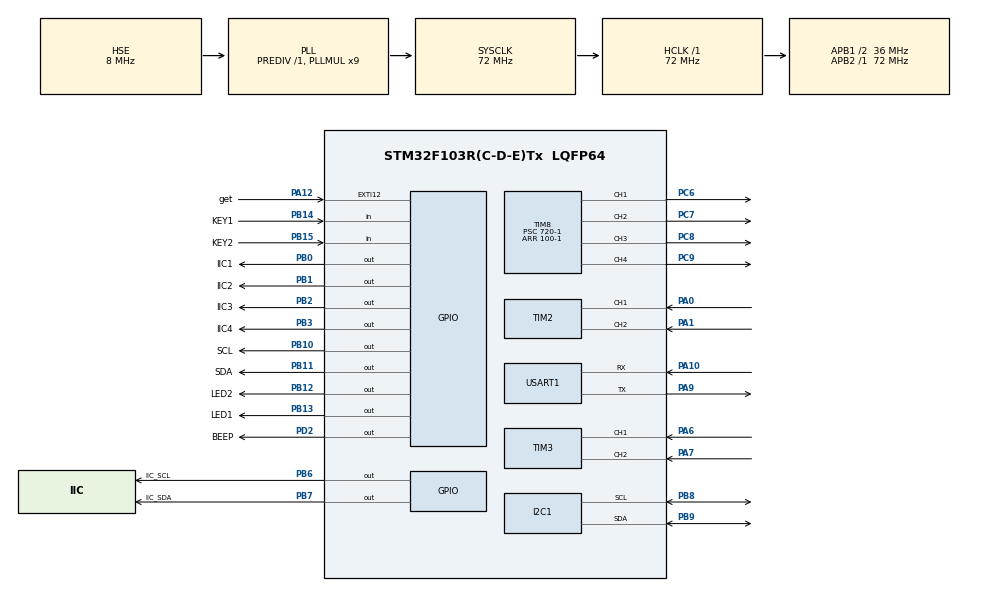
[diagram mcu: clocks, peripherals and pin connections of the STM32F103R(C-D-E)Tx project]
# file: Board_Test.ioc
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Dma.Request0=USART1_RX
Dma.Request1=USART1_TX
Dma.USART1_RX.0.Direction=DMA_PERIPH_TO_MEMORY
Dma.USART1_RX.0.Instance=DMA1_Channel5
Dma.USART1_RX.0.MemDataAlignment=DMA_MDATAALIGN_BYTE
Dma.USART1_RX.0.MemInc=DMA_MINC_ENABLE
Dma.USART1_RX.0.Mode=DMA_NORMAL
Dma.USART1_RX.0.PeriphDataAlignment=DMA_PDATAALIGN_BYTE
Dma.USART1_RX.0.PeriphInc=DMA_PINC_DISABLE
Dma.USART1_RX.0.Priority=DMA_PRIORITY_LOW
Dma.USART1_TX.1.Direction=DMA_MEMORY_TO_PERIPH
Dma.USART1_TX.1.Instance=DMA1_Channel4
Dma.USART1_TX.1.MemDataAlignment=DMA_MDATAALIGN_BYTE
Dma.USART1_TX.1.MemInc=DMA_MINC_ENABLE
Dma.USART1_TX.1.Mode=DMA_NORMAL
Dma.USART1_TX.1.PeriphDataAlignment=DMA_PDATAALIGN_BYTE
Dma.USART1_TX.1.PeriphInc=DMA_PINC_DISABLE
Dma.USART1_TX.1.Priority=DMA_PRIORITY_LOW
Mcu.Family=STM32F1
Mcu.Name=STM32F103R(C-D-E)Tx
Mcu.Package=LQFP64
NVIC.DMA1_Channel4_IRQn=true\:0\:0\:false\:false\:true\:false\:true\:true
NVIC.DMA1_Channel5_IRQn=true\:0\:0\:false\:false\:true\:false\:true\:true
NVIC.PriorityGroup=NVIC_PRIORITYGROUP_4
NVIC.TIM2_IRQn=true\:0\:0\:false\:false\:true\:true\:true\:true
NVIC.TIM3_IRQn=true\:0\:0\:false\:false\:true\:true\:true\:true
NVIC.TIM6_IRQn=true\:0\:0\:false\:false\:true\:true\:true\:true
NVIC.TIM8_BRK_IRQn=true\:0\:0\:false\:false\:true\:true\:true\:true
NVIC.TIM8_CC_IRQn=true\:0\:0\:false\:false\:true\:true\:true\:true
NVIC.TIM8_TRG_COM_IRQn=true\:0\:0\:false\:false\:true\:true\:true\:true
NVIC.TIM8_UP_IRQn=true\:0\:0\:false\:false\:true\:true\:true\:true
NVIC.USART1_IRQn=true\:0\:0\:false\:false\:true\:true\:true\:true
PA0-WKUP.Signal=S_TIM2_CH1_ETR
PA1.Signal=S_TIM2_CH2
PA10.Mode=Asynchronous
PA10.Signal=USART1_RX
PA12.GPIO_Label=get
PA12.Signal=GPXTI12
PA13.Mode=Serial_Wire
PA13.Signal=SYS_JTMS-SWDIO
PA14.Mode=Serial_Wire
PA14.Signal=SYS_JTCK-SWCLK
PA6.Signal=S_TIM3_CH1
PA7.Signal=S_TIM3_CH2
PA9.Mode=Asynchronous
PA9.Signal=USART1_TX
PB0.GPIO_Label=IIC1
PB0.Signal=GPIO_Output
PB1.GPIO_Label=IIC2
PB1.Signal=GPIO_Output
PB10.GPIO_Label=SCL
PB10.Signal=GPIO_Output
PB11.GPIO_Label=SDA
PB11.Signal=GPIO_Output
PB12.GPIO_Label=LED2
PB12.Signal=GPIO_Output
PB13.GPIO_Label=LED1
PB13.Signal=GPIO_Output
PB14.GPIO_Label=KEY1
PB14.Signal=GPIO_Input
PB15.GPIO_Label=KEY2
PB15.Signal=GPIO_Input
PB2.GPIO_Label=IIC3
PB2.Signal=GPIO_Output
PB3.GPIO_Label=IIC4
PB3.Signal=GPIO_Output
PB6.GPIO_Label=IIC_SCL
PB6.Signal=GPIO_Output
PB7.GPIO_Label=IIC_SDA
PB7.Signal=GPIO_Output
PB8.Mode=I2C
PB8.Signal=I2C1_SCL
PB9.Mode=I2C
PB9.Signal=I2C1_SDA
PC14-OSC32_IN.Mode=LSE-External-Oscillator
PC14-OSC32_IN.Signal=RCC_OSC32_IN
PC15-OSC32_OUT.Mode=LSE-External-Oscillator
PC15-OSC32_OUT.Signal=RCC_OSC32_OUT
PC6.Signal=S_TIM8_CH1
PC7.Signal=S_TIM8_CH2
PC8.Signal=S_TIM8_CH3
PC9.Signal=S_TIM8_CH4
PD0-OSC_IN.Mode=HSE-External-Oscillator
PD0-OSC_IN.Signal=RCC_OSC_IN
PD1-OSC_OUT.Mode=HSE-External-Oscillator
PD1-OSC_OUT.Signal=RCC_OSC_OUT
PD2.GPIO_Label=BEEP
PD2.Signal=GPIO_Output
ProjectManager.HeapSize=0x200
ProjectManager.StackSize=0x400
ProjectManager.TargetToolchain=STM32CubeIDE
RCC.AHBFreq_Value=72000000
RCC.APB1CLKDivider=RCC_HCLK_DIV2
RCC.APB1Freq_Value=36000000
RCC.APB1TimFreq_Value=72000000
RCC.APB2Freq_Value=72000000
RCC.APB2TimFreq_Value=72000000
RCC.HCLKFreq_Value=72000000
RCC.PLLMUL=RCC_PLL_MUL9
RCC.PLLSourceVirtual=RCC_PLLSOURCE_HSE
RCC.SYSCLKFreq_VALUE=72000000
RCC.SYSCLKSource=RCC_SYSCLKSOURCE_PLLCLK
RCC.USBFreq_Value=72000000
SH.S_TIM2_CH1_ETR.0=TIM2_CH1,Encoder_Interface
SH.S_TIM2_CH2.0=TIM2_CH2,Encoder_Interface
SH.S_TIM3_CH1.0=TIM3_CH1,Encoder_Interface
SH.S_TIM3_CH2.0=TIM3_CH2,Encoder_Interface
SH.S_TIM8_CH1.0=TIM8_CH1,PWM Generation1 CH1
SH.S_TIM8_CH2.0=TIM8_CH2,PWM Generation2 CH2
SH.S_TIM8_CH3.0=TIM8_CH3,PWM Generation3 CH3
SH.S_TIM8_CH4.0=TIM8_CH4,PWM Generation4 CH4
TIM6.Period=10000-1
TIM6.Prescaler=720-1
TIM8.Channel-PWM\ Generation1\ CH1=TIM_CHANNEL_1
TIM8.Channel-PWM\ Generation2\ CH2=TIM_CHANNEL_2
TIM8.Channel-PWM\ Generation3\ CH3=TIM_CHANNEL_3
TIM8.Channel-PWM\ Generation4\ CH4=TIM_CHANNEL_4
TIM8.Period=100-1
TIM8.Prescaler=720-1
USART1.VirtualMode=VM_ASYNC
VP_TIM6_VS_ClockSourceINT.Mode=Enable_Timer
VP_TIM8_VS_ClockSourceINT.Mode=Internal
board=custom

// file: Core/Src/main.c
/* USER CODE BEGIN Header */
/**
  ******************************************************************************
  * @file           : main.c
  * @brief          : Main program body
  ******************************************************************************
  * @attention
  *
  * Copyright (c) 2023 STMicroelectronics.
  * All rights reserved.
  *
  * This software is licensed under terms that can be found in the LICENSE file
  * in the root directory of this software component.
  * If no LICENSE file comes with this software, it is provided AS-IS.
  *
  ******************************************************************************
  */
/* USER CODE END Header */
#include "main.h"
#include "dma.h"
#include "i2c.h"
#include "tim.h"
#include "usart.h"
#include "gpio.h"

/* USER CODE BEGIN Includes */
#include "Serial.h"
#include "Key.h"
#include "OLED.h"
#include "Motor.h"
#include "mpu6050.h"
#include "inv_mpu.h"
#include "vl53l0x_api.h"
#include "PID.h"
#include "Control.h"
/* USER CODE END Includes */

/* USER CODE BEGIN PTD */
int speedLeft,speedRight;
PID pid;
uint64_t status;
int distanceLeft, distanceRight, distanceFront;
VL53L0X_Dev_t dev1,dev2,dev3;
/* USER CODE END PTD */

/* USER CODE BEGIN PM */

 VL53L0X_Error vl53l0x_init(void);
 uint16_t VL53L0X_GetValue(int ch);
/* USER CODE END PM */

/* USER CODE BEGIN PV */
short gyrox, gyroy, gyroz;//陀螺仪原始数据
float pitch,roll,yaw;
void Updata(void)
{
  mpu_dmp_get_data(&pitch, &roll, &yaw);
//	MPU_Get_Accelerometer(&aacx, &aacy, &aacz);
  MPU_Get_Gyroscope(&gyrox, &gyroy, &gyroz);
//	BalanG = KalmanFilter(&kfp,-gyroy);
  Myprintf("%f,%f,%f\r\n", pitch,roll, yaw);
}
/* USER CODE END PV */

void SystemClock_Config(void);

int main(void)
{
  /* USER CODE BEGIN 1 */
  /* USER CODE BEGIN 1 */
  uint16_t pwmVal=0;   //PWM占空比
  uint8_t dir=1;
  _Motor motor0;
  short cnt=0;
  int temp,temp2,temp3;
  uint32_t count1=0,count2=0;
  /* USER CODE END 1 */

  /* MCU Configuration--------------------------------------------------------*/

  /* Reset of all peripherals, Initializes the Flash interface and the Systick. */
  HAL_Init();

  /* Configure the system clock */
  SystemClock_Config();

  /* Initialize all configured peripherals */
  MX_GPIO_Init();
  MX_DMA_Init();
  MX_I2C1_Init();
  MX_USART1_UART_Init();
  MX_TIM8_Init();
  MX_TIM2_Init();
  MX_TIM3_Init();
  MX_TIM6_Init();
  /* USER CODE BEGIN 2 */
  OLED_Init();
  USART1_Init();
  Motor_Init();
  setup();

  vl53l0x_init();
//  MPU_Init();
//  mpu_dmp_init();		//dmp初始化
  OLED_ShowString(0,0,"Test!",16);
//  Myprintf("Hello!\r\n");
  /* USER CODE END 2 */

  /* Infinite loop */
  /* USER CODE BEGIN WHILE */
  while (1)
  {
//    Updata();
    temp=VL53L0X_GetValue(0);
    temp2=VL53L0X_GetValue(1);
    temp3=VL53L0X_GetValue(2);
    HAL_Delay(50);
    OLED_ShowNum(0,2,temp,6,16);
    OLED_ShowNum(0,4,temp2,6,16);
    OLED_ShowNum(0,6,temp3,6,16);
//    if (GetRxFlag()==1)
//    {
//      sscanf(RxDataStr,"L:%d,R:%d",&temp,&temp2);
//      Control_A(temp);
//      Control_B(temp2);
//      OLED_ShowSignedNum(0,6,temp,4,16);
//      OLED_ShowSignedNum(64,6,temp2,4,16);
//    }
//    Encode_CallBack();
//    GetSpeed(&motor0);
//    OLED_ShowSignedNum(0,2,(int )motor0.M1_ActualSpeed,6,16);
//    OLED_ShowSignedNum(0,4,(int )motor0.M2_ActualSpeed,6,16);
//    HAL_Delay(200);
//    if (motor0.M1_ActualSpeed>=10000)
//    {
//      __HAL_TIM_SET_COUNTER(&Encoder_Timer1, 0);
//      count1++;
//    }
//    if (motor0.M1_ActualSpeed>=10000)
//    {
//      __HAL_TIM_SET_COUNTER(&Encoder_Timer2, 0);
//      count2++;
//    }
//    Myprintf("%f,%f,%d,%d\n",motor0.M1_ActualSpeed,motor0.M2_ActualSpeed,count1,count2);
    /* USER CODE END WHILE */

    /* USER CODE BEGIN 3 */
    update();
  }
  /* USER CODE END 3 */
}

void SystemClock_Config(void)
{
  RCC_OscInitTypeDef RCC_OscInitStruct = {0};
  RCC_ClkInitTypeDef RCC_ClkInitStruct = {0};

  /** Initializes the RCC Oscillators according to the specified parameters
  * in the RCC_OscInitTypeDef structure.
  */
  RCC_OscInitStruct.OscillatorType = RCC_OSCILLATORTYPE_HSE;
  RCC_OscInitStruct.HSEState = RCC_HSE_ON;
  RCC_OscInitStruct.HSEPredivValue = RCC_HSE_PREDIV_DIV1;
  RCC_OscInitStruct.HSIState = RCC_HSI_ON;
  RCC_OscInitStruct.PLL.PLLState = RCC_PLL_ON;
  RCC_OscInitStruct.PLL.PLLSource = RCC_PLLSOURCE_HSE;
  RCC_OscInitStruct.PLL.PLLMUL = RCC_PLL_MUL9;
  if (HAL_RCC_OscConfig(&RCC_OscInitStruct) != HAL_OK)
  {
    Error_Handler();
  }

  /** Initializes the CPU, AHB and APB buses clocks
  */
  RCC_ClkInitStruct.ClockType = RCC_CLOCKTYPE_HCLK|RCC_CLOCKTYPE_SYSCLK
                              |RCC_CLOCKTYPE_PCLK1|RCC_CLOCKTYPE_PCLK2;
  RCC_ClkInitStruct.SYSCLKSource = RCC_SYSCLKSOURCE_PLLCLK;
  RCC_ClkInitStruct.AHBCLKDivider = RCC_SYSCLK_DIV1;
  RCC_ClkInitStruct.APB1CLKDivider = RCC_HCLK_DIV2;
  RCC_ClkInitStruct.APB2CLKDivider = RCC_HCLK_DIV1;

  if (HAL_RCC_ClockConfig(&RCC_ClkInitStruct, FLASH_LATENCY_2) != HAL_OK)
  {
    Error_Handler();
  }
}

/* USER CODE BEGIN 4 */
void HAL_GPIO_EXTI_Callback(uint16_t GPIO_Pin)
{
//		Updata();
}

/* USER CODE END 4 */

void Error_Handler(void)
{
  __disable_irq();
  while (1)
  {
  }
}
